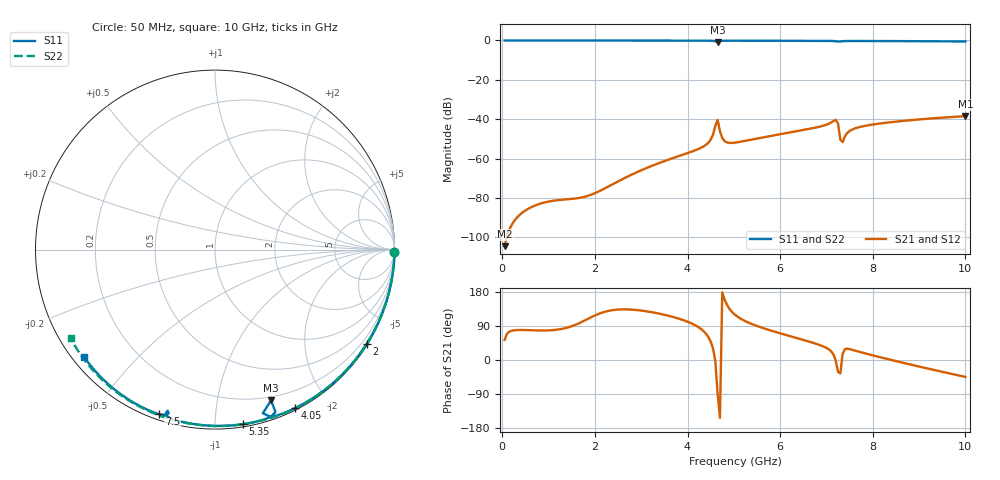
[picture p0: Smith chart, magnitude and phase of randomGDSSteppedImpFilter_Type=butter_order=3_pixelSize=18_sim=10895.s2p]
! freq	dB(S11)	phase(S11)	dB(S12)	phase(S12)
!  dB(S21)	phase(S21)	dB(S22)	phase(S22)
!S-par simulation data
#  GHz  S  DB  R 50
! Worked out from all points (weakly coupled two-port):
!   200 points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, 50 MHz to 10 GHz, reference 50 ohm
!   highest |S21| = -38.44 dB at 10 GHz (marker M1); lowest = -104.4 dB at 50 MHz (marker M2)
!   lowest |S11| = -1.0 dB at 4.65 GHz (marker M3), VSWR 18.25, Z = 8.37 - j71.3 ohm
!   |S11| at or under -10 dB: nowhere
!   |S22| runs from -0.5 to 0.0 dB; largest |S21 - S12| = 0
!   S11 on the Smith chart (normalised r, x): 50 MHz: open; 2 GHz: 0.03, -3.49; 4.05 GHz: 0.02, -1.63; 5.35 GHz: 0.02, -1.17; 7.5 GHz: 0.02, -0.72; 10 GHz: 0.03, -0.36
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0.05  -0.00 -0.8  -104.42 53.2  -104.42 53.2  -0.00 -0.9
1.75  -0.04 -28.0  -79.51 102.5  -79.51 102.5  -0.04 -29.7
2  -0.04 -31.9  -77.53 117.6  -77.53 117.6  -0.04 -33.9
3.4  -0.07 -53.4  -62.11 122.1  -62.11 122.1  -0.07 -56.4
4.05  -0.09 -63.1  -56.75 98.5  -56.75 98.5  -0.09 -66.5
4.45  -0.12 -69.5  -51.90 60.4  -51.90 60.4  -0.10 -72.5
4.55  -0.19 -71.9  -47.88 30.8  -47.88 30.8  -0.11 -74.1
4.65  -0.95 -69.6  -40.30 -89.4  -40.30 -89.4  -0.12 -75.5
4.7  -0.31 -69.6  -46.09 -152.4  -46.09 -152.4  -0.12 -76.2
4.75  -0.18 -71.2  -49.52 178.3  -49.52 178.3  -0.12 -77.0
4.8  -0.15 -72.3  -51.10 159.3  -51.10 159.3  -0.12 -77.7
5.05  -0.12 -76.5  -51.78 117.0  -51.78 117.0  -0.13 -81.4
5.35  -0.13 -80.8  -50.48 96.8  -50.48 96.8  -0.14 -85.7
6.7  -0.19 -99.2  -44.58 45.7  -44.58 45.7  -0.20 -104.7
7.2  -0.41 -106.8  -40.31 -1.4  -40.31 -1.4  -0.24 -111.5
7.25  -0.58 -106.4  -42.21 -31.5  -42.21 -31.5  -0.25 -112.2
7.3  -0.47 -105.8  -50.41 -35.3  -50.41 -35.3  -0.25 -112.8
7.35  -0.36 -106.4  -51.57 16.6  -51.57 16.6  -0.25 -113.5
7.4  -0.31 -107.2  -48.57 28.8  -48.57 28.8  -0.25 -114.1
7.5  -0.28 -108.7  -45.94 28.7  -45.94 28.7  -0.26 -115.5
8.35  -0.32 -119.8  -41.59 1.5  -41.59 1.5  -0.33 -126.8
10  -0.51 -140.5  -38.44 -44.6  -38.44 -44.6  -0.50 -148.5
